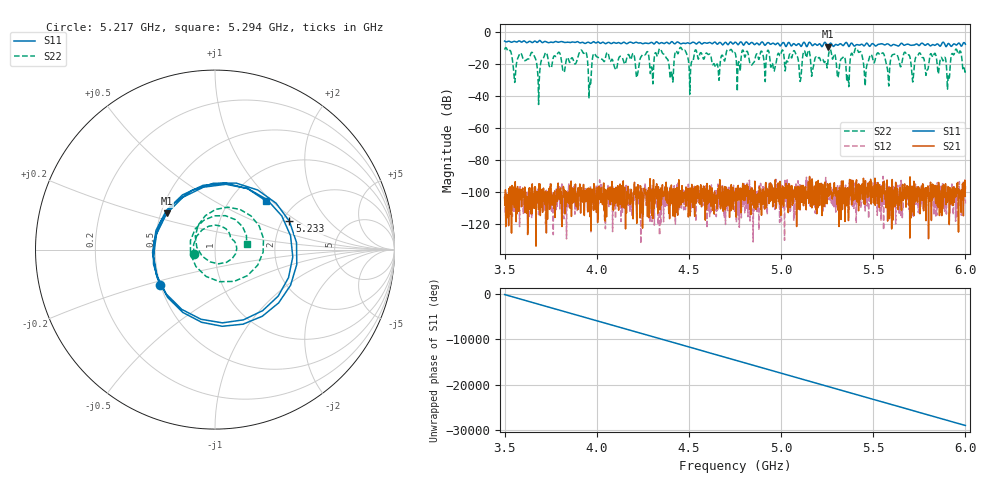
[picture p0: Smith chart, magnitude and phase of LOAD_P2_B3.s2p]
# Hz S RI R 50
! RAW DATA - UNCALIBRATED
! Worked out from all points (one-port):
!   1601 points, 3.5 GHz to 6 GHz, reference 50 ohm
!   lowest |S11| = -9.5 dB at 5.255 GHz (marker M1), VSWR 2.01, Z = 26.8 + j12.2 ohm
!   |S11| at or under -10 dB: nowhere
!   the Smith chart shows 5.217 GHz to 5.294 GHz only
!   S11 on the Smith chart (normalised r, x): 5.217 GHz: 0.50, -0.23; 5.233 GHz: 2.19, +0.86; 5.294 GHz: 1.45, +0.93
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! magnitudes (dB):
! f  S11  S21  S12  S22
! 3.5 GHz  -5.8  -103.5  -104.0  -11.2
! 3.684 GHz  -5.9  -111.3  -114.3  -45.5
! 3.72 GHz  -6.1  -108.0  -102.2  -13.5
! 3.917 GHz  -6.7  -101.7  -98.5  -11.6
! 3.962 GHz  -7.0  -115.5  -98.6  -31.4
! 3.989 GHz  -6.7  -98.8  -103.0  -13.9
! 4.298 GHz  -6.7  -114.7  -106.0  -22.2
! 4.334 GHz  -7.2  -96.9  -103.2  -12.9
! 4.405 GHz  -6.3  -95.8  -101.9  -25.2
! 4.458 GHz  -7.6  -108.1  -105.8  -10.1
! 4.509 GHz  -7.4  -102.1  -112.6  -23.3
! 4.75 GHz  -6.6  -103.4  -111.8  -13.2
! 5.167 GHz  -8.4  -110.1  -94.9  -27.0
! 5.217 GHz  -8.8  -94.7  -97.9  -18.4
! 5.233 GHz  -7.1  -99.7  -100.9  -19.0
! 5.255 GHz  -9.5  -102.3  -95.7  -17.5
! 5.294 GHz  -8.1  -99.6  -106.7  -14.9
! 5.584 GHz  -7.9  -98.4  -110.2  -33.9
! 5.825 GHz  -8.1  -99.7  -101.4  -15.7
! 5.908 GHz  -7.4  -104.2  -99.3  -27.3
! 5.956 GHz  -7.9  -96.8  -98.4  -12.4
! 6 GHz  -7.8  -97.1  -107.3  -24.8
